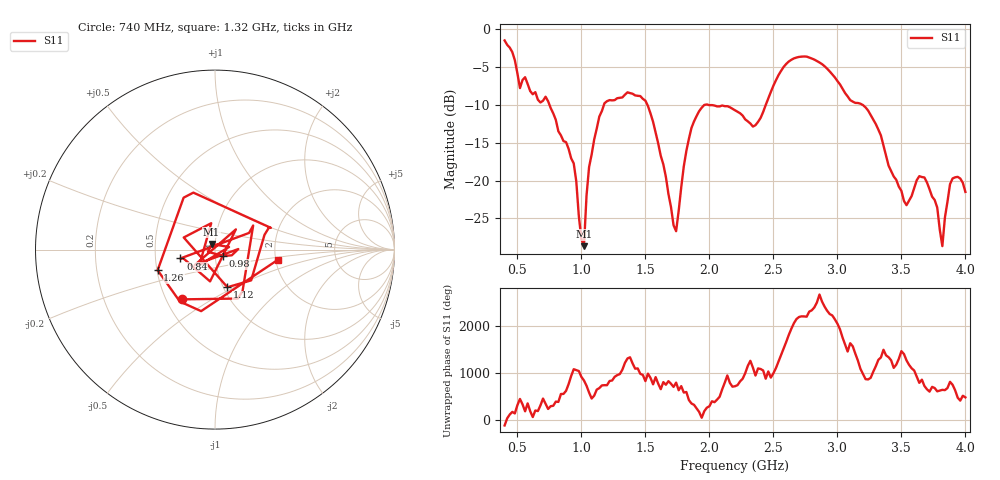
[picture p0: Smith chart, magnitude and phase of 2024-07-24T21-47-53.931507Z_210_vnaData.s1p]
!Created with skrf (http://scikit-rf.org).
# Hz S RI R 50.0
!freq ReS11 ImS11
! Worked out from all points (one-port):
!   181 points, 400 MHz to 4 GHz, reference 50 ohm
!   lowest |S11| = -28.7 dB at 1.02 GHz (marker M1), VSWR 1.08, Z = 48 + j3.02 ohm
!   |S11| at or under -10 dB: 1.515 GHz to 1.967 GHz (451.4 MHz wide, 25.9 % of centre); 1.989 GHz to 2.441 GHz (451.5 MHz wide, 20.4 % of centre); 3.196 GHz to end of sweep (the widest 3 of 4)
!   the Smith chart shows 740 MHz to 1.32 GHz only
!   S11 on the Smith chart (normalised r, x): 740 MHz: 0.60, -0.37; 840 MHz: 0.67, -0.07; 980 MHz: 1.09, -0.08; 1.12 GHz: 1.04, -0.46; 1.26 GHz: 0.50, -0.13; 1.32 GHz: 2.05, -0.27
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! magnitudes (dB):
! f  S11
! 400 MHz  -1.5
! 520 MHz  -7.8
! 740 MHz  -9.5
! 840 MHz  -14.0
! 860 MHz  -14.8
! 940 MHz  -17.7
! 980 MHz  -24.7
! 1.02 GHz  -28.7
! 1.06 GHz  -18.2
! 1.12 GHz  -13.1
! 1.26 GHz  -9.4
! 1.3 GHz  -9.1
! 1.32 GHz  -9.0
! 1.5 GHz  -9.5
! 1.72 GHz  -25.9
! 1.76 GHz  -24.0
! 1.82 GHz  -16.1
! 1.92 GHz  -10.8
! 2.2 GHz  -10.7
! 2.36 GHz  -12.7
! 2.66 GHz  -3.9
! 3.1 GHz  -9.4
! 3.24 GHz  -10.8
! 3.56 GHz  -22.7
! 3.68 GHz  -19.6
! 3.82 GHz  -28.7
! 3.88 GHz  -20.5
! 4 GHz  -21.5
